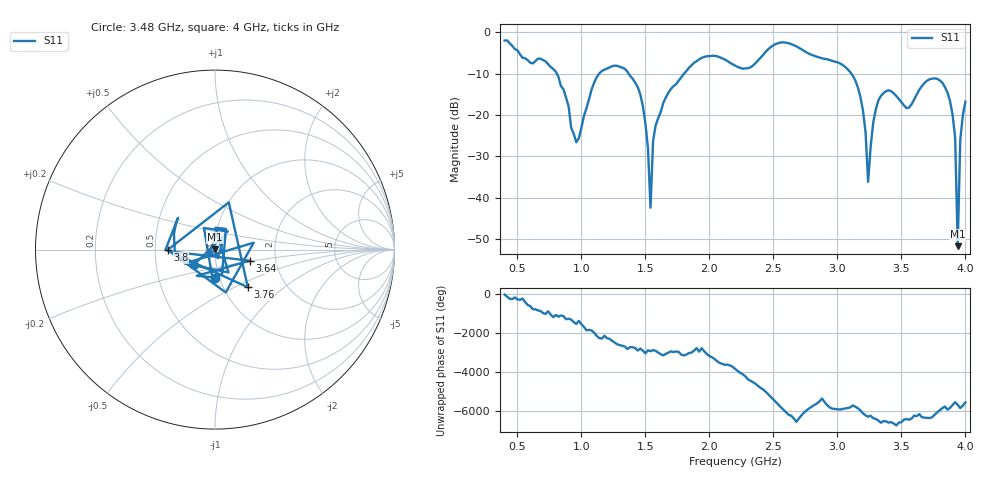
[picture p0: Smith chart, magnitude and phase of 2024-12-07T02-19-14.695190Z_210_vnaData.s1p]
!Created with skrf (http://scikit-rf.org).
# Hz S RI R 50.0
!freq ReS11 ImS11
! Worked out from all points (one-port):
!   181 points, 400 MHz to 4 GHz, reference 50 ohm
!   lowest |S11| = -51.8 dB at 3.94 GHz (marker M1), VSWR 1.01, Z = 50 + j0.258 ohm
!   |S11| at or under -10 dB: 808.6 MHz to 1.138 GHz (329.3 MHz wide, 33.8 % of centre); 1.37 GHz to 1.801 GHz (431.1 MHz wide, 27.2 % of centre); 3.109 GHz to end of sweep
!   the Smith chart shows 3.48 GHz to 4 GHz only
!   S11 on the Smith chart (normalised r, x): 3.48 GHz: 0.95, -0.30; 3.64 GHz: 1.46, -0.19; 3.76 GHz: 1.30, -0.59; 3.8 GHz: 0.58, -0.00; 4 GHz: 0.78, -0.13
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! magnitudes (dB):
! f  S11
! 400 MHz  -1.9
! 860 MHz  -13.8
! 960 MHz  -26.6
! 1.12 GHz  -10.8
! 1.3 GHz  -8.3
! 1.48 GHz  -17.8
! 1.52 GHz  -28.0
! 1.54 GHz  -42.4
! 1.56 GHz  -26.2
! 1.58 GHz  -22.5
! 1.76 GHz  -11.7
! 2.2 GHz  -8.0
! 2.66 GHz  -3.1
! 3.1 GHz  -9.6
! 3.2 GHz  -18.9
! 3.24 GHz  -36.2
! 3.28 GHz  -21.8
! 3.32 GHz  -16.4
! 3.48 GHz  -16.1
! 3.56 GHz  -18.2
! 3.64 GHz  -13.9
! 3.76 GHz  -11.1
! 3.8 GHz  -11.6
! 3.88 GHz  -16.6
! 3.92 GHz  -25.5
! 3.94 GHz  -51.8
! 3.96 GHz  -26.0
! 4 GHz  -16.8
